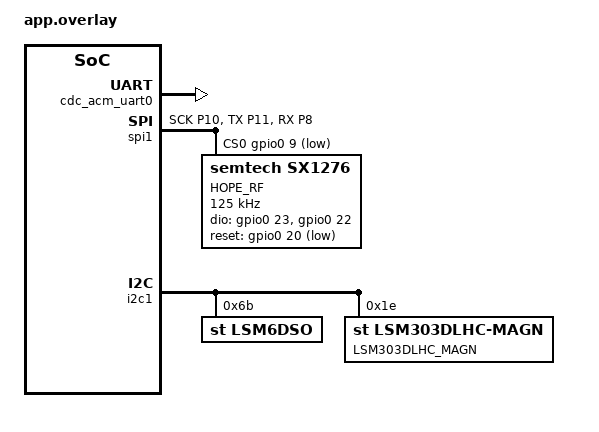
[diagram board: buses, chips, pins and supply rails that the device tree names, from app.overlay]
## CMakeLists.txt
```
cmake_minimum_required(VERSION 3.20.0)

find_package(Zephyr REQUIRED HINTS $ENV{ZEPHYR_BASE})
project(pleiades-zephyr)

target_sources(app PRIVATE src/main.c src/sensor.c src/lora_radio.c src/usb_serial.c)
```

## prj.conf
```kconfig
CONFIG_USB_DEVICE_STACK=y
CONFIG_USB_DEVICE_PRODUCT="Pleiades Flight Board"
CONFIG_USB_DEVICE_VID=0x0028

CONFIG_SERIAL=y
CONFIG_CONSOLE=y

CONFIG_UART_CONSOLE=y
CONFIG_UART_LINE_CTRL=y

CONFIG_SPI=y

CONFIG_I2C=y

CONFIG_LORA=y
CONFIG_LORA_SX127X=y

CONFIG_SENSOR=y
CONFIG_LSM6DSO=y
CONFIG_LSM6DSO_ENABLE_TEMP=y

CONFIG_LOG=y
CONFIG_LOG_DEFAULT_LEVEL=3

CONFIG_MAIN_STACK_SIZE=2048
CONFIG_SYSTEM_WORKQUEUE_STACK_SIZE=2048
CONFIG_NEWLIB_LIBC=y
CONFIG_NEWLIB_LIBC_FLOAT_PRINTF=y
CONFIG_CBPRINTF_FP_SUPPORT=y

CONFIG_DEBUG_THREAD_INFO=y
# CONFIG_THREAD_ANALYZER_USE_PRINTK=y
# CONFIG_THREAD_ANALYZER_AUTO=y
# CONFIG_THREAD_ANALYZER_AUTO_INTERVAL=5
# CONFIG_THREAD_ANALYZER=y
```

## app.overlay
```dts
/ {
	chosen {
		zephyr,console = &cdc_acm_uart0;
	};
};


&zephyr_udc0 {
	cdc_acm_uart0: cdc_acm_uart0 {
		compatible = "zephyr,cdc-acm-uart";
		label = "CDC_ACM_0";
	};
};

&spi1 {
	status = "okay";
	cs-gpios = <&gpio0 9 GPIO_ACTIVE_LOW>;
	pinctrl-0 = <&spi1_default>;
	pinctrl-names = "default";

	lora0: sx1276@0 {
		compatible = "semtech,sx1276";
		reg = <0>;
		spi-max-frequency = <125000>;
		dio-gpios = <&gpio0 23 (GPIO_PULL_DOWN | GPIO_ACTIVE_HIGH)>, <&gpio0 22 (GPIO_PULL_DOWN | GPIO_ACTIVE_HIGH)>;
		reset-gpios = <&gpio0 20 GPIO_ACTIVE_LOW>;
		power-amplifier-output = "pa-boost";
		label="HOPE_RF";
	};
};

&pinctrl {
	spi1_default: spi1_default {
		group1 {
			pinmux = <SPI1_SCK_P10>, <SPI1_TX_P11>;
		};

		group2 {
			pinmux = <SPI1_RX_P8>;
			input-enable;
		};
	};
};

&pinctrl {
	i2c1_default: i2c1_default {
		group1 {
			pinmux = <I2C1_SCL_P3>, <I2C1_SDA_P2>;
		};
	};
};

&i2c1 {
    status = "okay";
    pinctrl-0 = <&i2c1_default>;
    pinctrl-names = "default";

    lsm6dso0: lsm6dso0@6b {
        compatible = "st,lsm6dso";
        reg = <0x6b>;
        label = "LSM6DSO";
    };

    lsm303dlhc_magn: lsm303dlhc_magn@1e {
        compatible = "st,lsm303dlhc-magn";
        reg = <0x1e>;
        label = "LSM303DLHC_MAGN";
    };
};
```

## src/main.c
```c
#include <zephyr/kernel.h>
#include <zephyr/sys/printk.h>
#include <zephyr/logging/log.h>
#include <zephyr/kernel/stats.h>
#include "usb_serial.h"
#include "lora_radio.h"
#include "sensor.h"
LOG_MODULE_REGISTER(main);

#define USB_STACK_SIZE 1024
#define LORA_STACK_SIZE 1024
#define SENSOR_STACK_SIZE 1024

K_THREAD_STACK_DEFINE(usb_stack_area, USB_STACK_SIZE);
K_THREAD_STACK_DEFINE(lora_stack_area, LORA_STACK_SIZE);
K_THREAD_STACK_DEFINE(sensor_stack_area, SENSOR_STACK_SIZE);

struct k_thread usb_thread_data;
struct k_thread lora_thread_data;
struct k_thread sensor_thread_data;


void main(void)
{
    printk("Starting main loop with threads...\n");

    k_thread_create(&usb_thread_data, usb_stack_area, K_THREAD_STACK_SIZEOF(usb_stack_area),
                    usb_serial_thread, NULL, NULL, NULL, 5, 0, K_NO_WAIT);

    k_thread_create(&lora_thread_data, lora_stack_area, K_THREAD_STACK_SIZEOF(lora_stack_area),
                    lora_radio_thread, NULL, NULL, NULL, 5, 0, K_NO_WAIT);

    k_thread_create(&sensor_thread_data, sensor_stack_area, K_THREAD_STACK_SIZEOF(sensor_stack_area),
                    sensor_thread, NULL, NULL, NULL, 5, 0, K_NO_WAIT);

    while (1) {
        k_sleep(K_FOREVER);
    }
}
```

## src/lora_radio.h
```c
#ifndef LORA_RADIO_H
#define LORA_RADIO_H

int lora_radio_init(void);
void lora_radio_thread(void *p1, void *p2, void *p3);

#endif // LORA_RADIO_H
```

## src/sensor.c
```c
#include <zephyr/drivers/sensor.h>
#include <zephyr/kernel.h>

static const struct device *lsm6dso_dev;
static const struct device *lsm303agr_dev;

float out_ev(struct sensor_value *val)
{
    return (val->val1 + (float)val->val2 / 1000000);
}

int lsm6dso_init(void) {
    lsm6dso_dev = DEVICE_DT_GET_ONE(st_lsm6dso);
    if (!device_is_ready(lsm6dso_dev)) {
        printk("LSM6DSO device not ready\n");
        return -1;
    }

    int ret = 0;
    struct sensor_value odr_attr;

    odr_attr.val1 = 12;
    odr_attr.val2 = 500000; // 12.5 Hz

    ret = sensor_attr_set(lsm6dso_dev, SENSOR_CHAN_ACCEL_XYZ,
            SENSOR_ATTR_SAMPLING_FREQUENCY, &odr_attr);
    if (ret != 0) {
        printk("Cannot set sampling frequency for accelerometer.\n");
        return ret;
    }

    ret = sensor_attr_set(lsm6dso_dev, SENSOR_CHAN_GYRO_XYZ,
            SENSOR_ATTR_SAMPLING_FREQUENCY, &odr_attr);
    if (ret != 0) {
        printk("Cannot set sampling frequency for gyro.\n");
        return ret;
    }

    return 0;
}


void sensor_thread(void *p1, void *p2, void *p3)
{
    int ret = lsm6dso_init();
    if (ret != 0) {
        printk("Failed to initialize LSM6DSO\n");
        return;
    }


    struct sensor_value x, y, z;

    while (1) {
        sensor_sample_fetch_chan(lsm6dso_dev, SENSOR_CHAN_ACCEL_XYZ);
        sensor_channel_get(lsm6dso_dev, SENSOR_CHAN_ACCEL_X, &x);
        sensor_channel_get(lsm6dso_dev, SENSOR_CHAN_ACCEL_Y, &y);
        sensor_channel_get(lsm6dso_dev, SENSOR_CHAN_ACCEL_Z, &z);

        printk("LSM6DSO accel x: %f ms^2, y: %f ms^2, z: %f ms^2\n",
               (double)out_ev(&x), (double)out_ev(&y), (double)out_ev(&z));

        sensor_sample_fetch_chan(lsm6dso_dev, SENSOR_CHAN_GYRO_XYZ);
        sensor_channel_get(lsm6dso_dev, SENSOR_CHAN_GYRO_X, &x);
        sensor_channel_get(lsm6dso_dev, SENSOR_CHAN_GYRO_Y, &y);
        sensor_channel_get(lsm6dso_dev, SENSOR_CHAN_GYRO_Z, &z);

        printk("LSM6DSO gyro x: %f rad/s, y: %f rad/s, z: %f rad/s\n",
               (double)out_ev(&x), (double)out_ev(&y), (double)out_ev(&z));


        k_sleep(K_SECONDS(1));
    }
}
```

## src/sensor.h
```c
#ifndef SENSOR_H
#define SENSOR_H

int lsm6dso_init(void);
void sensor_thread(void *p1, void *p2, void *p3);

#endif
```

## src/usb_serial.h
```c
#ifndef USB_SERIAL_H
#define USB_SERIAL_H

int serial_init(void);
void usb_serial_thread(void *p1, void *p2, void *p3);

#endif
```
